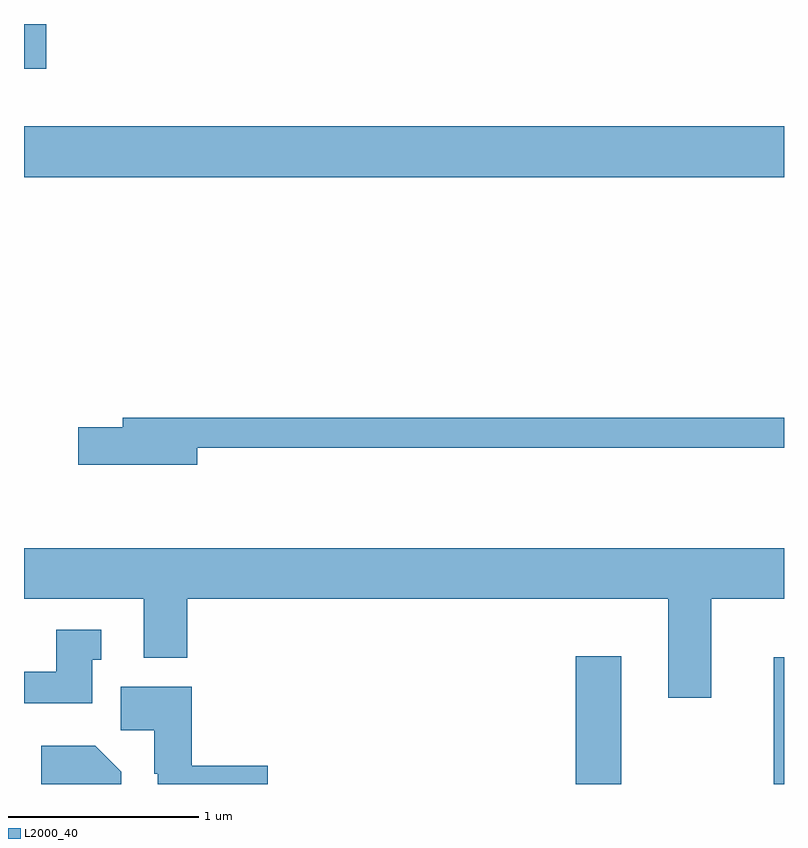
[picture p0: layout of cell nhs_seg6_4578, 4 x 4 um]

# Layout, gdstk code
import gdstk
lib = gdstk.Library(unit=1e-6, precision=1e-09)
def R(c, l, rs):  # rectangles x0, y0, x1, y1
    for r in rs: c.add(gdstk.rectangle(r[:2], r[2:], *l))
def P(c, l, *ps):  # polygons
    for p in ps: c.add(gdstk.Polygon(p, *l))
L2000_40 = (2000, 40)

nhs_seg6_4578 = lib.new_cell('nhs_seg6_4578')
R(nhs_seg6_4578, L2000_40, [(328.516,1560.162,328.754,1560.834), (329.556,1560.162,329.611,1560.828), (325.611,1563.356,329.611,1563.624), (325.611,1563.926,325.729,1564.162)])
P(nhs_seg6_4578, L2000_40, [(326.524,1561.931),(329.611,1561.931),(329.611,1562.089),(326.131,1562.089),(326.131,1562.039),(325.896,1562.039),(325.896,1561.841),(326.524,1561.841)],
  [(329.229,1561.136),(329.611,1561.136),(329.611,1561.404),(325.611,1561.404),(325.611,1561.136),(326.241,1561.136),(326.241,1560.826),(326.469,1560.826),(326.469,1561.136),(329.001,1561.136),(329.001,1560.616),(329.229,1560.616)],
  [(325.969,1560.816),(326.018,1560.816),(326.018,1560.974),(325.781,1560.974),(325.781,1560.754),(325.611,1560.754),(325.611,1560.586),(325.969,1560.586)],
  [(326.894,1560.259),(326.494,1560.259),(326.494,1560.674),(326.121,1560.674),(326.121,1560.446),(326.296,1560.446),(326.296,1560.216),(326.316,1560.216),(326.316,1560.162),(326.894,1560.162)],
  [(326.124,1560.227),(325.987,1560.364),(325.701,1560.364),(325.701,1560.162),(326.124,1560.162)])

lib.write_gds('nhs_seg6_4578.gds')
